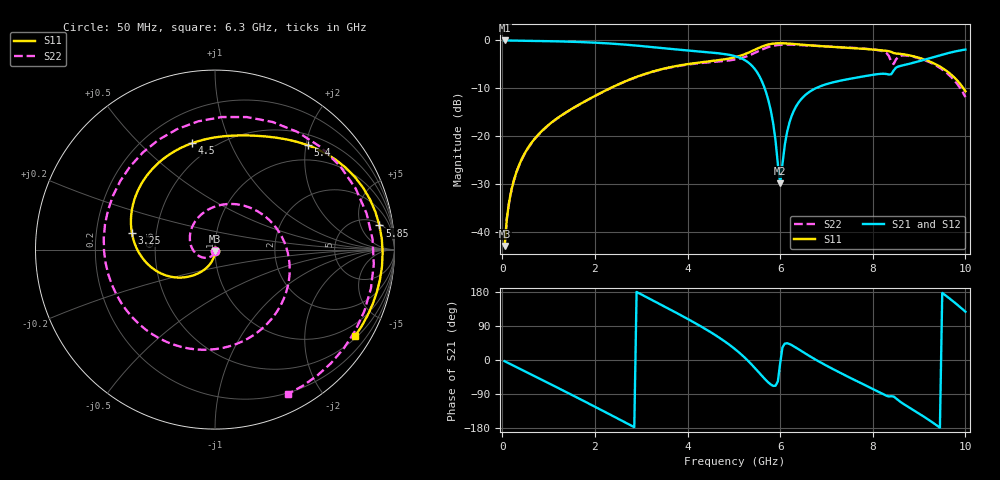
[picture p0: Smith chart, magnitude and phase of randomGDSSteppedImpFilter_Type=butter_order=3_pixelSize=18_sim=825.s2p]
! freq	dB(S11)	phase(S11)	dB(S12)	phase(S12)
!  dB(S21)	phase(S21)	dB(S22)	phase(S22)
!S-par simulation data
#  GHz  S  DB  R 50
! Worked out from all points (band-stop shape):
!   200 points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, 50 MHz to 10 GHz, reference 50 ohm
!   highest |S21| = -0.01 dB at 50 MHz (marker M1); lowest = -29.9 dB at 6 GHz (marker M2)
!   |S21| within 3 dB of the highest: start of sweep to 4.894 GHz; 9.487 GHz to end of sweep
!   lowest |S11| = -43.0 dB at 50 MHz (marker M3), VSWR 1.01, Z = 50 - j0.708 ohm
!   |S11| at or under -10 dB: start of sweep to 2.329 GHz; 9.955969 GHz to end of sweep
!   |S22| runs from -43.1 to -0.9 dB; largest |S21 - S12| = 0
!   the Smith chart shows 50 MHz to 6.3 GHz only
!   S11 on the Smith chart (normalised r, x): 50 MHz: 1.00, -0.01; 3.25 GHz: 0.36, +0.09; 4.5 GHz: 0.39, +0.73; 5.4 GHz: 0.69, +2.03; 5.85 GHz: 6, +11; 6.3 GHz: 0.57, -3.46
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0.05  -43.00 -88.5  -0.01 -3.1  -0.01 -3.1  -43.05 -92.0
0.2  -31.18 -95.4  -0.02 -12.3  -0.02 -12.3  -31.25 -108.0
0.5  -23.37 -105.1  -0.06 -30.6  -0.06 -30.6  -23.45 -136.9
1.15  -16.54 -122.7  -0.18 -70.4  -0.18 -70.4  -16.58 160.2
1.75  -12.93 -137.1  -0.36 -107.6  -0.36 -107.6  -12.95 100.2
2.55  -9.01 -161.5  -0.80 -158.1  -0.80 -158.1  -9.03 23.9
3.25  -6.51 168.6  -1.41 157.2  -1.41 157.2  -6.56 -35.1
3.4  -6.12 161.4  -1.55 147.6  -1.55 147.6  -6.17 -46.9
4  -4.96 130.2  -2.10 108.6  -2.10 108.6  -5.06 -93.3
4.5  -4.35 102.3  -2.52 73.4  -2.52 73.4  -4.55 -135.6
5.05  -3.46 71.0  -3.36 26.2  -3.36 26.2  -3.94 159.9
5.4  -2.19 48.5  -5.38 -14.0  -5.38 -14.0  -2.84 97.5
5.6  -1.31 32.0  -8.41 -40.9  -8.41 -40.9  -1.93 55.0
5.85  -0.67 8.4  -17.40 -68.3  -17.40 -68.3  -1.11 3.9
6  -0.58 -5.8  -29.87 -9.3  -29.87 -9.3  -0.92 -22.3
6.3  -0.75 -31.4  -14.62 35.7  -14.62 35.7  -0.90 -63.4
6.7  -1.07 -61.1  -10.36 5.6  -10.36 5.6  -1.10 -102.1
7.6  -1.62 -117.1  -7.86 -52.3  -7.86 -52.3  -1.57 -165.1
8.35  -2.26 -159.7  -7.15 -96.2  -7.15 -96.2  -3.29 137.0
9.1  -3.94 160.5  -4.07 -149.2  -4.07 -149.2  -4.06 86.9
9.6  -6.42 132.4  -2.72 167.8  -2.72 167.8  -6.82 31.6
10  -10.63 113.6  -1.91 127.5  -1.91 127.5  -11.86 -25.3
